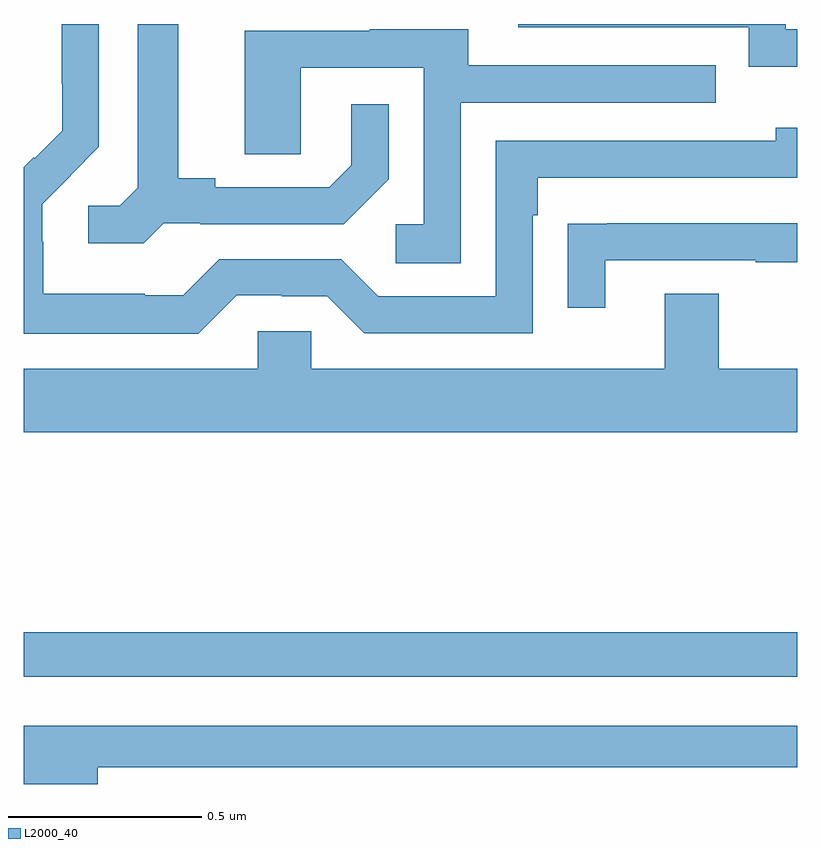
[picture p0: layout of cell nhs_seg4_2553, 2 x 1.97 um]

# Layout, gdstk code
import gdstk
lib = gdstk.Library(unit=1e-6, precision=1e-09)
def R(c, l, rs):  # rectangles x0, y0, x1, y1
    for r in rs: c.add(gdstk.rectangle(r[:2], r[2:], *l))
def P(c, l, *ps):  # polygons
    for p in ps: c.add(gdstk.Polygon(p, *l))
L2000_40 = (2000, 40)

nhs_seg4_2553 = lib.new_cell('nhs_seg4_2553')
R(nhs_seg4_2553, L2000_40, [(142,772.212,144,772.328)])
P(nhs_seg4_2553, L2000_40, [(142.362,773.385),(142.456,773.385),(142.456,773.382),(142.828,773.382),(142.944,773.498),(142.944,773.692),(142.847,773.692),(142.847,773.535),(142.79,773.478),(142.495,773.478),(142.495,773.501),(142.399,773.501),(142.399,773.9),(142.295,773.9),(142.295,773.477),(142.248,773.43),(142.167,773.43),(142.167,773.333),(142.31,773.333)],
  [(144,773.886),(143.97,773.886),(143.97,773.9),(143.279,773.9),(143.279,773.892),(143.874,773.892),(143.874,773.789),(144,773.789)],
  [(142.551,773.199),(142.667,773.199),(142.667,773.196),(142.785,773.196),(142.881,773.1),(143.316,773.1),(143.316,773.405),(143.329,773.405),(143.329,773.502),(144,773.502),(144,773.632),(143.945,773.632),(143.945,773.598),(143.22,773.598),(143.22,773.196),(142.917,773.196),(142.821,773.292),(142.506,773.292),(142.413,773.199),(142.313,773.199),(142.313,773.203),(142.05,773.203),(142.05,773.337),(142.048,773.337),(142.048,773.434),(142.122,773.508),(142.121,773.509),(142.194,773.582),(142.194,773.9),(142.098,773.9),(142.098,773.746),(142.1,773.746),(142.1,773.624),(142.029,773.553),(142.026,773.556),(142,773.53),(142,773.099),(142.451,773.099)],
  [(143.13,773.697),(143.789,773.697),(143.789,773.793),(143.149,773.793),(143.149,773.887),(142.895,773.887),(142.895,773.883),(142.571,773.883),(142.571,773.563),(142.716,773.563),(142.716,773.787),(143.034,773.787),(143.034,773.382),(142.962,773.382),(142.962,773.281),(143.13,773.281)],
  [(143.503,773.289),(143.893,773.289),(143.893,773.284),(144,773.284),(144,773.385),(143.509,773.385),(143.509,773.384),(143.407,773.384),(143.407,773.166),(143.503,773.166)],
  [(144,773.008),(143.797,773.008),(143.797,773.203),(143.657,773.203),(143.657,773.008),(142.743,773.008),(142.743,773.106),(142.605,773.106),(142.605,773.008),(142,773.008),(142,772.844),(144,772.844)],
  [(142.192,771.978),(144,771.978),(144,772.086),(142,772.086),(142,771.935),(142.192,771.935)])

lib.write_gds('nhs_seg4_2553.gds')
